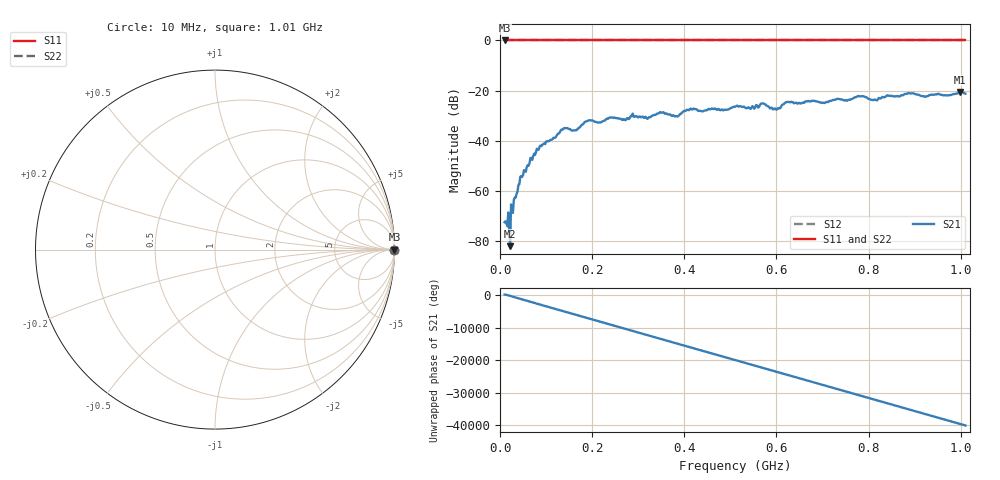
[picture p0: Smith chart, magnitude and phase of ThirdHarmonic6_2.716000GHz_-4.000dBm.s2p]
! 8/17/2025 6:35:27 AM
! C:\ANRITSUVNA\TEMP\TEMP.S2P
! CHANNEL.1
! TR.MEASUREMENT
! RAW.DATA
! RF.CORRECTION.OFF
! AVERAGING.OFF
! IF.BANDWIDTH: 5KHZ
! SWEEPTYPE:  FREQ.SWEEP(Linear)
! Reference Plane Port Info
! PORT:  PORT1  PORT2
! DISTANCE:  0  m  0  m
! TIME:  0  s  0  s
! PHASE.OFFSET:  0  deg.  0  deg.
! LOSS:  0  dB  0  dB
! REF.LOSS:  0  dB  0  dB
! REF.FREQ:  0  Hz  0  Hz
! Power Info
! POWER:  -20  dBm  -20  dBm
! EFF.POWER:  -20  dBm  -20  dBm
! SOURCE.ATTEN:  0  dB  0  dB
! TEST.ATTEN:  0  dB  0  dB
# GHZ S RI R 50.0
! FREQ.GHZ  S11RE  S11IM  S21RE  S21IM  S12RE  S12IM  S22RE  S22IM
!; PortSelection: Port_12
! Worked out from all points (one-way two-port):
!   501 points, 10 MHz to 1.01 GHz, reference 50 ohm
!   highest |S21| = -20.56 dB at 998 MHz (marker M1); lowest = -82.2 dB at 22 MHz (marker M2)
!   lowest |S11| = 0.0 dB at 10 MHz (marker M3)
!   |S11| at or under -10 dB: nowhere
!   |S22| runs from 0.0 to 0.0 dB; largest |S21 - S12| = 1.1
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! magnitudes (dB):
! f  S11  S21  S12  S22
! 10 MHz  0.0  -72.6  0.0  0.0
! 14 MHz  0.0  -73.0  0.0  0.0
! 18 MHz  0.0  -68.7  0.0  0.0
! 22 MHz  0.0  -82.2  0.0  0.0
! 24 MHz  0.0  -65.5  0.0  0.0
! 28 MHz  0.0  -68.8  0.0  0.0
! 48 MHz  0.0  -54.5  0.0  0.0
! 84 MHz  0.0  -43.6  0.0  0.0
! 136 MHz  0.0  -35.6  0.0  0.0
! 162 MHz  0.0  -35.9  0.0  0.0
! 178 MHz  0.0  -33.6  0.0  0.0
! 344 MHz  0.0  -29.2  0.0  0.0
! 384 MHz  0.0  -30.3  0.0  0.0
! 416 MHz  0.0  -27.5  0.0  0.0
! 510 MHz  0.0  -26.5  0.0  0.0
! 570 MHz  0.0  -25.1  0.0  0.0
! 596 MHz  0.0  -27.1  0.0  0.0
! 624 MHz  0.0  -24.6  0.0  0.0
! 678 MHz  0.0  -24.1  0.0  0.0
! 844 MHz  0.0  -22.1  0.0  0.0
! 998 MHz  0.0  -20.6  0.0  0.0
! 1.01 GHz  0.0  -21.2  0.0  0.0
